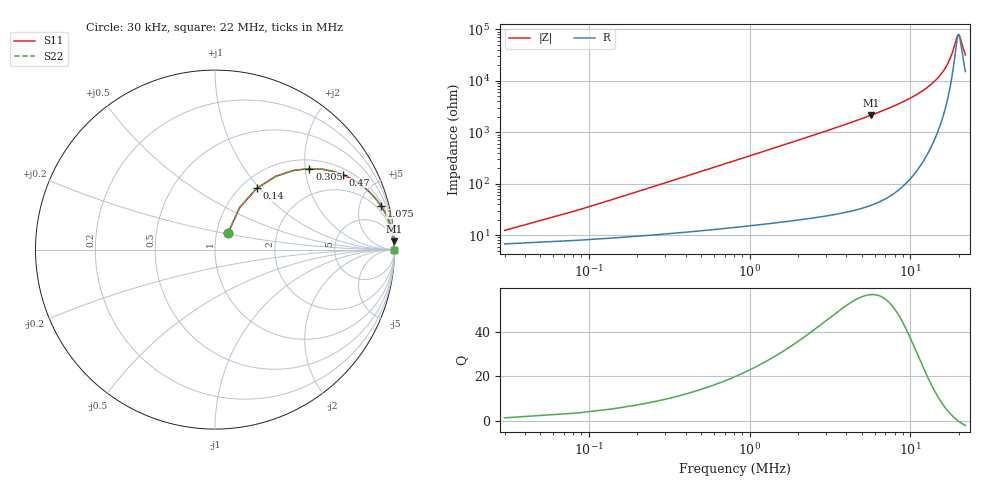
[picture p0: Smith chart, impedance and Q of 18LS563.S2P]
! Coilcraft 1812LS-563 Chip Inductor
! 8 August 2002
# MHZ S MA R 50
!Freq  MagS11  AngS11  MagS21  AngS21  MagS12  AngS12  MagS22  AngS22
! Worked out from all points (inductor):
!   401 points, 30 kHz to 22 MHz, reference 50 ohm
!   read as one part in series: L = 55 uH near 140 kHz
!   highest Q = 56.5 at 5.695 MHz (marker M1), where L = 59.9 uH
!   self-resonance near 19.94 MHz
!   S11 on the Smith chart (normalised r, x): 30 kHz: 1.13, +0.21; 140 kHz: 1.18, +0.97; 305 kHz: 1.21, +2.11; 470 kHz: 1.24, +3.25; 1.075 MHz: 1.31, +7.45; 22 MHz: open
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0.03  0.1153 51.4  0.9324 -5.5  0.9324 -5.5  0.1153 51.4
0.14  0.413 55.7  0.84 -24.0  0.84 -24.0  0.413 55.7
0.195  0.5294 50.4  0.7779 -31.6  0.7779 -31.6  0.5294 50.4
0.25  0.6217 45.2  0.7147 -38.1  0.7147 -38.1  0.6217 45.2
0.305  0.6935 40.6  0.6545 -43.6  0.6545 -43.6  0.6935 40.6
0.47  0.8258 30.4  0.5068 -55.4  0.5068 -55.4  0.8258 30.4
0.69  0.9047 22.2  0.3784 -64.6  0.3784 -64.6  0.9047 22.2
1.075  0.956 14.8  0.2564 -72.8  0.2564 -72.8  0.956 14.8
1.57  0.978 10.3  0.179 -77.8  0.179 -77.8  0.978 10.3
2.12  0.9875 7.7  0.1332 -80.8  0.1332 -80.8  0.9875 7.7
3.715  0.9957 4.3  0.07485 -84.6  0.07485 -84.6  0.9957 4.3
5.695  0.9981 2.7  0.04657 -86.3  0.04657 -86.3  0.9981 2.7
7.4  0.9988 1.9  0.03367 -87.0  0.03367 -87.0  0.9988 1.9
11.03  0.9992 1.0  0.0182 -87.1  0.0182 -87.1  0.9992 1.0
14.715  0.9992 0.5  0.009003 -84.5  0.009003 -84.5  0.9992 0.5
16.805  0.999 0.3  0.005109 -79.0  0.005109 -79.0  0.999 0.3
18.345  0.9989 0.1  0.002701 -66.1  0.002701 -66.1  0.9989 0.1
19.5  0.9988 0.0  0.0014 -30.6  0.0014 -30.6  0.9988 0.0
19.94  0.9987 0.0  0.001254 -3.2  0.001254 -3.2  0.9987 0.0
20.325  0.9987 -0.0  0.001379 20.3  0.001379 20.3  0.9987 -0.0
21.37  0.9986 -0.1  0.002382 53.5  0.002382 53.5  0.9986 -0.1
22  0.9985 -0.2  0.003129 61.4  0.003129 61.4  0.9985 -0.2
